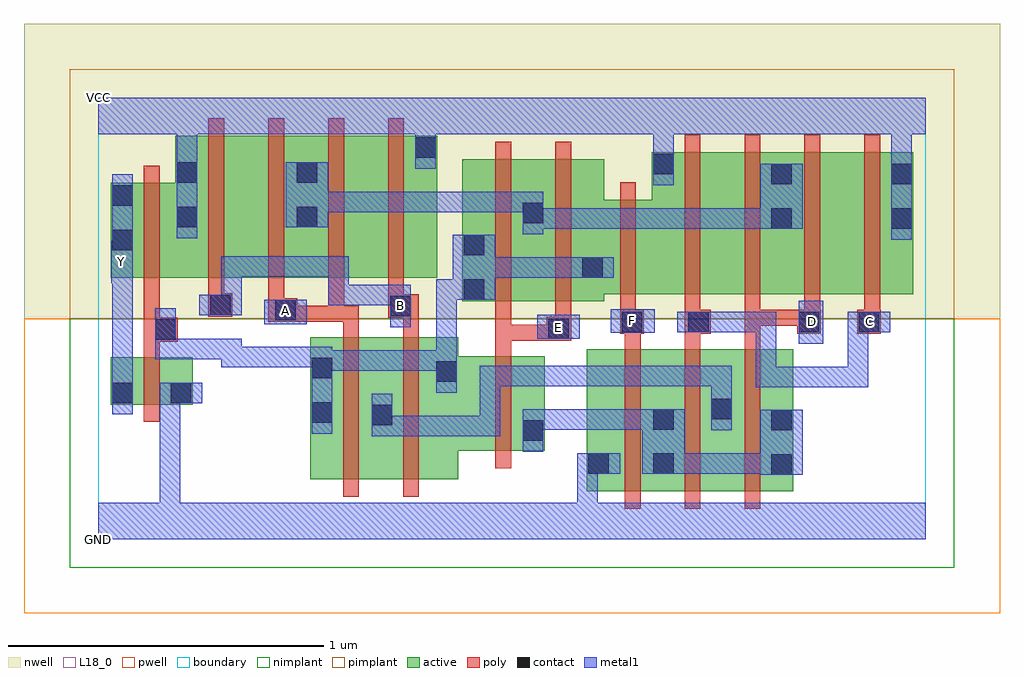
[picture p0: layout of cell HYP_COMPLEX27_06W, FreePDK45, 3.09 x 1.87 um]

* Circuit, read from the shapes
.subckt HYP_COMPLEX27_06W A B C D E F GND VCC Y
M1 GND n1 Y VSUBS nfet w=0.15u l=0.05u
M2 n2 A n1 VSUBS nfet w=0.45u l=0.05u
M3 n1 B n2 VSUBS nfet w=0.45u l=0.05u
M4 n3 E n1 VSUBS nfet w=0.3u l=0.05u
M5 n3 F GND VSUBS nfet w=0.45u l=0.05u
M6 n2 C n3 VSUBS nfet w=0.45u l=0.05u
M7 n3 D n2 VSUBS nfet w=0.45u l=0.05u
M8 VCC n1 Y n4 pfet w=0.3u l=0.05u
M9 n5 B VCC n4 pfet w=0.45u l=0.05u
M10 n6 A n5 n4 pfet w=0.45u l=0.05u
M11 n7 A n6 n4 pfet w=0.45u l=0.05u
M12 VCC B n7 n4 pfet w=0.45u l=0.05u
M13 n6 E n1 n4 pfet w=0.45u l=0.05u m=2
M14 VCC F n1 n4 pfet w=0.3u l=0.05u
M15 n8 C VCC n4 pfet w=0.45u l=0.05u
M16 n6 D n8 n4 pfet w=0.45u l=0.05u
M17 n9 D n6 n4 pfet w=0.45u l=0.05u
M18 VCC C n9 n4 pfet w=0.45u l=0.05u
.ends

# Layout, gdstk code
import gdstk
lib = gdstk.Library(unit=1e-6, precision=1e-09)
def R(c, l, rs):  # rectangles x0, y0, x1, y1
    for r in rs: c.add(gdstk.rectangle(r[:2], r[2:], *l))
def A(c, l, x, y, w, h, nx, ny, dx, dy):  # array of equal rectangles
    R(c, l, [(x+i*dx, y+j*dy, x+i*dx+w, y+j*dy+h) for i in range(nx) for j in range(ny)])
active = (1, 0)
pwell = (2, 0)
nwell = (3, 0)
nimplant = (4, 0)
pimplant = (5, 0)
poly = (9, 0)
contact = (10, 0)
metal1 = (11, 0)
L18_0 = (18, 0)
boundary = (235, 0)

hyp_complex27_06w = lib.new_cell('HYP_COMPLEX27_06W')
R(hyp_complex27_06w, active, [(1.55,0.152,1.83,0.602), (1.755,0.152,2.015,0.602), (1.94,0.152,2.205,0.602), (0.672,0.19,0.937,0.64), (0.862,0.19,1.142,0.64), (0.672,0.195,0.747,0.64), (0.862,0.195,0.937,0.542), (1.55,0.195,1.625,0.542), (1.755,0.195,1.83,0.542), (1.94,0.195,2.015,0.542), (2.13,0.195,2.205,0.602), (1.067,0.28,1.417,0.58), (1.342,0.28,1.417,0.58), (1.067,0.33,1.142,0.57), (0.04,0.427,0.115,0.577), (0.04,0.427,0.3,0.577), (0.225,0.427,0.3,0.577), (1.155,0.755,1.417,1.205), (1.155,0.755,1.23,1.047), (1.342,0.755,1.605,1.205), (1.53,0.777,1.83,1.077), (1.755,0.777,1.98,1.227), (1.98,0.777,2.205,1.227), (2.13,0.777,2.36,1.227), (2.36,0.777,2.585,1.227), (2.51,0.777,2.585,1.205), (1.53,0.825,1.605,1.07), (0.04,0.83,0.115,1.13), (0.04,0.83,0.32,1.13), (0.245,0.83,0.47,1.28), (0.245,0.83,0.32,1.2), (0.47,0.83,0.7,1.28), (0.625,0.83,0.85,1.28), (0.85,0.83,1.075,1.28), (0.625,0.857,0.7,1.2), (1,0.857,1.075,1.28), (1.342,0.857,1.417,1.2), (2.13,0.857,2.205,1.2), (1.755,0.995,1.83,1.227)])
R(hyp_complex27_06w, pwell, [(-0.235,-0.235,2.86,0.7)])
R(hyp_complex27_06w, nwell, [(-0.235,0.7,2.86,1.635)])
R(hyp_complex27_06w, nimplant, [(-0.09,-0.09,2.715,0.7)])
R(hyp_complex27_06w, pimplant, [(-0.09,0.7,2.715,1.49)])
A(hyp_complex27_06w, poly, 1.67, 0.097, 0.05, 0.56, 3, 1, 0.19, 0)
A(hyp_complex27_06w, poly, 1.86, 0.677, 0.05, 0.095, 4, 1, 0.19, 0)
A(hyp_complex27_06w, poly, 1.86, 0.722, 0.05, 0.56, 4, 1, 0.19, 0)
A(hyp_complex27_06w, poly, 0.35, 0.775, 0.05, 0.56, 4, 1, 0.19, 0)
R(hyp_complex27_06w, poly, [(0.777,0.135,0.827,0.695), (0.967,0.135,1.017,0.695), (1.26,0.225,1.31,0.635), (0.145,0.372,0.195,0.632), (0.145,0.582,0.195,0.677), (1.26,0.585,1.31,0.68), (1.67,0.607,1.72,0.702), (1.86,0.607,1.91,0.702), (2.05,0.607,2.1,0.727), (0.145,0.627,0.252,0.702), (1.26,0.63,1.31,0.68), (1.26,0.63,1.31,0.68), (1.26,0.63,1.31,0.68), (1.26,0.63,1.31,0.75), (1.26,0.63,1.472,0.68), (1.422,0.63,1.5,0.705), (0.777,0.645,0.827,0.74), (0.967,0.645,1.017,0.752), (0.145,0.652,0.195,0.825), (1.655,0.652,1.73,0.727), (1.86,0.652,1.942,0.727), (2.217,0.652,2.292,0.727), (2.407,0.652,2.482,0.727), (1.45,0.655,1.5,0.75), (1.655,0.677,1.705,0.772), (2.05,0.677,2.267,0.727), (2.05,0.677,2.1,0.727), (2.05,0.677,2.1,0.727), (2.05,0.677,2.1,0.727), (0.54,0.69,0.632,0.765), (0.582,0.69,0.632,0.74), (0.582,0.69,0.632,0.74), (0.582,0.69,0.78,0.74), (0.73,0.69,0.78,0.825), (0.73,0.69,0.827,0.74), (1.26,0.7,1.31,1.26), (1.45,0.7,1.5,1.26), (0.92,0.702,1.017,0.777), (0.35,0.705,0.425,0.78), (0.54,0.715,0.59,0.825), (1.655,0.722,1.705,1.132), (0.92,0.727,0.97,0.825), (0.35,0.73,0.4,0.825), (0.145,0.775,0.195,1.185)])
R(hyp_complex27_06w, contact, [(2.135,0.205,2.2,0.27), (1.555,0.207,1.62,0.272), (1.76,0.207,1.825,0.272), (1.347,0.312,1.412,0.377), (2.135,0.345,2.2,0.41), (1.76,0.347,1.825,0.412), (0.867,0.362,0.932,0.427), (0.677,0.37,0.742,0.435), (1.945,0.38,2.01,0.445), (0.045,0.432,0.11,0.497), (0.23,0.432,0.295,0.497), (1.072,0.5,1.137,0.565), (0.677,0.51,0.742,0.575), (0.182,0.632,0.247,0.697), (1.427,0.635,1.492,0.7), (1.66,0.657,1.725,0.722), (1.872,0.657,1.937,0.722), (2.222,0.657,2.287,0.722), (2.412,0.657,2.477,0.722), (0.562,0.695,0.627,0.76), (0.927,0.707,0.992,0.772), (0.355,0.71,0.42,0.775), (1.16,0.76,1.225,0.825), (1.535,0.83,1.6,0.895), (1.16,0.9,1.225,0.965), (0.045,0.917,0.11,0.982), (2.135,0.985,2.2,1.05), (2.515,0.985,2.58,1.05), (0.25,0.99,0.315,1.055), (0.63,0.99,0.695,1.055), (1.347,1.002,1.412,1.067), (0.045,1.057,0.11,1.122), (2.135,1.125,2.2,1.19), (2.515,1.125,2.58,1.19), (0.25,1.13,0.315,1.195), (0.63,1.13,0.695,1.195), (1.76,1.157,1.825,1.222), (1.005,1.21,1.07,1.275)])
R(hyp_complex27_06w, metal1, [(0,0,2.625,0.115), (0.195,0.05,0.26,0.497), (1.52,0.05,1.585,0.115), (1.52,0.05,1.585,0.115), (1.52,0.05,1.585,0.272), (2.1,0.205,2.235,0.41), (1.52,0.207,1.655,0.272), (1.725,0.207,1.86,0.412), (1.795,0.207,1.86,0.272), (1.795,0.207,1.86,0.272), (1.795,0.207,2.002,0.272), (1.937,0.207,2.002,0.272), (1.937,0.207,2.15,0.272), (2.085,0.207,2.15,0.272), (2.085,0.207,2.165,0.272), (1.347,0.277,1.412,0.412), (0.867,0.327,0.932,0.462), (0.867,0.327,1.052,0.392), (0.987,0.327,1.052,0.392), (0.987,0.327,1.07,0.392), (1.005,0.327,1.07,0.392), (1.005,0.327,1.275,0.392), (1.21,0.327,1.275,0.392), (1.21,0.327,1.275,0.55), (0.677,0.335,0.742,0.61), (1.945,0.345,2.01,0.48), (1.347,0.347,1.412,0.412), (1.347,0.347,1.412,0.412), (1.347,0.347,1.55,0.412), (1.485,0.347,1.55,0.412), (1.485,0.347,1.55,0.412), (1.485,0.347,1.55,0.412), (1.485,0.347,1.79,0.412), (0.045,0.397,0.11,0.532), (1.945,0.415,2.01,0.48), (1.945,0.415,2.01,0.55), (0.195,0.432,0.26,0.497), (0.195,0.432,0.26,0.497), (0.195,0.432,0.26,0.497), (0.195,0.432,0.26,0.497), (0.195,0.432,0.26,0.497), (0.195,0.432,0.26,0.497), (0.195,0.432,0.33,0.497), (1.072,0.465,1.137,0.6), (0.045,0.467,0.11,0.877), (2.085,0.482,2.15,0.547), (2.085,0.482,2.15,0.722), (2.085,0.482,2.305,0.547), (2.24,0.482,2.305,0.547), (2.24,0.482,2.442,0.547), (2.377,0.482,2.442,0.547), (2.377,0.482,2.442,0.722), (1.21,0.485,1.275,0.55), (1.21,0.485,1.275,0.55), (1.21,0.485,1.275,0.55), (1.21,0.485,1.412,0.55), (1.347,0.485,1.412,0.55), (1.347,0.485,1.412,0.55), (1.347,0.485,1.412,0.55), (1.347,0.485,1.55,0.55), (1.485,0.485,1.55,0.55), (1.485,0.485,1.722,0.55), (1.657,0.485,1.722,0.55), (1.657,0.485,1.722,0.55), (1.657,0.485,1.722,0.55), (1.657,0.485,2.01,0.55), (0.677,0.535,0.8,0.6), (0.735,0.535,0.8,0.6), (0.735,0.535,0.932,0.6), (0.867,0.535,0.932,0.6), (0.867,0.535,0.957,0.6), (0.892,0.535,0.957,0.6), (0.892,0.535,1.137,0.6), (1.072,0.535,1.137,0.825), (0.39,0.545,0.6,0.61), (0.39,0.545,0.455,0.635), (0.535,0.545,0.6,0.61), (0.535,0.545,0.742,0.61), (0.182,0.57,0.247,0.635), (0.182,0.57,0.455,0.635), (0.182,0.57,0.247,0.662), (0.39,0.57,0.455,0.635), (0.39,0.57,0.455,0.635), (0.182,0.597,0.247,0.662), (0.182,0.597,0.247,0.662), (0.182,0.597,0.247,0.732), (2.222,0.62,2.3,0.757), (1.392,0.635,1.527,0.712), (1.625,0.655,1.765,0.73), (1.837,0.657,1.972,0.722), (1.907,0.657,2.012,0.722), (1.947,0.657,2.012,0.722), (1.947,0.657,2.15,0.722), (2.085,0.657,2.15,0.722), (2.085,0.657,2.15,0.722), (2.085,0.657,2.15,0.722), (2.377,0.657,2.442,0.722), (2.377,0.657,2.442,0.722), (2.377,0.657,2.512,0.722), (0.927,0.672,0.992,0.807), (0.527,0.682,0.662,0.76), (0.32,0.71,0.455,0.775), (0.39,0.71,0.455,0.775), (0.39,0.71,0.455,0.775), (0.39,0.71,0.455,0.897), (0.73,0.742,0.795,0.807), (0.73,0.742,0.82,0.807), (0.73,0.742,0.795,0.897), (0.755,0.742,0.82,0.807), (0.755,0.742,0.932,0.807), (0.867,0.742,0.932,0.807), (0.867,0.742,0.992,0.807), (1.072,0.76,1.137,0.825), (1.072,0.76,1.19,0.825), (1.125,0.76,1.19,0.825), (1.125,0.76,1.19,0.825), (1.125,0.76,1.26,0.965), (0.042,0.812,0.11,0.947), (1.195,0.83,1.275,0.895), (1.21,0.83,1.275,0.895), (1.21,0.83,1.412,0.895), (1.347,0.83,1.412,0.895), (1.347,0.83,1.412,0.895), (1.347,0.83,1.412,0.895), (1.347,0.83,1.565,0.895), (1.5,0.83,1.635,0.895), (0.39,0.832,0.455,0.897), (0.39,0.832,0.662,0.897), (0.597,0.832,0.662,0.897), (0.597,0.832,0.795,0.897), (0.73,0.832,0.795,0.897), (0.045,0.882,0.11,1.157), (0.045,0.882,0.11,0.947), (2.515,0.95,2.58,1.225), (0.25,0.955,0.315,1.23), (1.347,0.967,1.412,1.102), (1.347,0.985,1.412,1.05), (1.347,0.985,1.412,1.05), (1.347,0.985,1.55,1.05), (1.485,0.985,1.55,1.05), (1.485,0.985,1.55,1.05), (1.485,0.985,1.55,1.05), (1.485,0.985,1.865,1.05), (1.8,0.985,1.865,1.05), (1.8,0.985,1.865,1.05), (1.8,0.985,1.865,1.05), (1.8,0.985,1.887,1.05), (1.822,0.985,1.887,1.05), (1.822,0.985,2.012,1.05), (1.947,0.985,2.012,1.05), (1.947,0.985,2.15,1.05), (2.085,0.985,2.15,1.05), (2.085,0.985,2.165,1.05), (2.1,0.985,2.235,1.19), (0.595,0.99,0.73,1.195), (0.665,1.037,0.8,1.102), (0.735,1.037,0.8,1.102), (0.735,1.037,0.932,1.102), (0.867,1.037,0.932,1.102), (0.867,1.037,1.052,1.102), (0.987,1.037,1.052,1.102), (0.987,1.037,1.137,1.102), (1.072,1.037,1.137,1.102), (1.072,1.037,1.275,1.102), (1.21,1.037,1.275,1.102), (1.21,1.037,1.275,1.102), (1.21,1.037,1.275,1.102), (1.21,1.037,1.412,1.102), (1.76,1.122,1.825,1.257), (2.515,1.16,2.58,1.35), (0.25,1.165,0.315,1.35), (1.005,1.175,1.07,1.31), (1.76,1.192,1.825,1.35), (1.005,1.245,1.07,1.35), (0,1.285,2.625,1.4)])
R(hyp_complex27_06w, L18_0, [(0,0,2.625,0.115), (0.195,0.05,0.26,0.497), (1.52,0.05,1.585,0.115), (1.52,0.05,1.585,0.115), (1.52,0.05,1.585,0.272), (1.52,0.207,1.655,0.272), (0.045,0.397,0.11,0.532), (0.195,0.432,0.26,0.497), (0.195,0.432,0.26,0.497), (0.195,0.432,0.26,0.497), (0.195,0.432,0.26,0.497), (0.195,0.432,0.26,0.497), (0.195,0.432,0.26,0.497), (0.195,0.432,0.33,0.497), (0.045,0.467,0.11,0.877), (2.085,0.482,2.15,0.547), (2.085,0.482,2.15,0.722), (2.085,0.482,2.305,0.547), (2.24,0.482,2.305,0.547), (2.24,0.482,2.442,0.547), (2.377,0.482,2.442,0.547), (2.377,0.482,2.442,0.722), (2.222,0.62,2.3,0.757), (1.392,0.635,1.527,0.712), (1.427,0.637,1.492,0.702), (1.625,0.655,1.765,0.73), (1.837,0.657,1.972,0.722), (1.907,0.657,2.012,0.722), (1.947,0.657,2.012,0.722), (1.947,0.657,2.15,0.722), (2.085,0.657,2.15,0.722), (2.085,0.657,2.15,0.722), (2.085,0.657,2.15,0.722), (2.232,0.657,2.297,0.722), (2.377,0.657,2.442,0.722), (2.377,0.657,2.442,0.722), (2.377,0.657,2.512,0.722), (2.412,0.657,2.477,0.722), (1.662,0.662,1.727,0.727), (0.927,0.672,0.992,0.807), (0.527,0.682,0.662,0.76), (0.562,0.692,0.627,0.757), (0.927,0.707,0.992,0.772), (0.32,0.71,0.455,0.775), (0.39,0.71,0.455,0.775), (0.39,0.71,0.455,0.775), (0.39,0.71,0.455,0.897), (0.73,0.742,0.795,0.807), (0.73,0.742,0.795,0.897), (0.73,0.742,0.82,0.807), (0.755,0.742,0.82,0.807), (0.755,0.742,0.932,0.807), (0.867,0.742,0.932,0.807), (0.867,0.742,0.992,0.807), (0.042,0.812,0.11,0.947), (0.39,0.832,0.455,0.897), (0.39,0.832,0.662,0.897), (0.597,0.832,0.662,0.897), (0.597,0.832,0.795,0.897), (0.73,0.832,0.795,0.897), (0.042,0.847,0.107,0.912), (0.045,0.882,0.11,1.157), (0.045,0.882,0.11,0.947), (2.515,0.95,2.58,1.225), (0.25,0.955,0.315,1.23), (1.76,1.122,1.825,1.257), (2.515,1.16,2.58,1.35), (0.25,1.165,0.315,1.35), (1.005,1.175,1.07,1.31), (1.76,1.192,1.825,1.35), (1.005,1.245,1.07,1.35), (0,1.285,2.625,1.4)])
R(hyp_complex27_06w, boundary, [(0,0,2.625,1.4)])
hyp_complex27_06w.add(gdstk.Label('A', (0.595,0.725), layer=11, texttype=0))
hyp_complex27_06w.add(gdstk.Label('B', (0.96,0.74), layer=11, texttype=0))
hyp_complex27_06w.add(gdstk.Label('C', (2.445,0.69), layer=11, texttype=0))
hyp_complex27_06w.add(gdstk.Label('D', (2.265,0.69), layer=11, texttype=0))
hyp_complex27_06w.add(gdstk.Label('E', (1.46,0.67), layer=11, texttype=0))
hyp_complex27_06w.add(gdstk.Label('F', (1.695,0.695), layer=11, texttype=0))
hyp_complex27_06w.add(gdstk.Label('Y', (0.075,0.88), layer=11, texttype=0))
hyp_complex27_06w.add(gdstk.Label('VCC', (0,1.4), layer=11, texttype=0))
hyp_complex27_06w.add(gdstk.Label('GND', (0,0), layer=11, texttype=0))

lib.write_gds('HYP_COMPLEX27_06W.gds')
